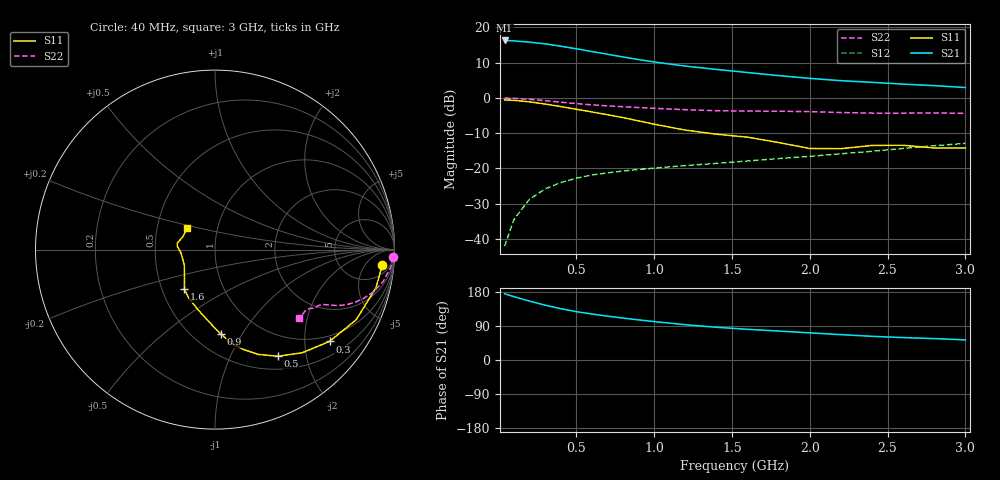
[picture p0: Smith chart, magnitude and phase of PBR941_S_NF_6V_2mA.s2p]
! Filename:  PBR941L.S2P  Version:  3.0
! Philips part #:  PBR941  Date: July 1998
! Bias condition:  Vce=6V, Ic=2.0mA
#  MHz  S  MA  R 50
! Freq  S11  S21  S12  S22
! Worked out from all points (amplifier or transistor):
!   21 points, 40 MHz to 3 GHz, reference 50 ohm
!   highest |S21| = 16.3 dB at 40 MHz (marker M1)
!   |S21| within 3 dB of that: start of sweep to 581.9 MHz
!   unconditionally stable (mu >= 1): 1.754 GHz to end of sweep
!   at 300 MHz: K = 0.26, MSG = 20.6 dB, |S12| = -25.8 dB
!   at 1 GHz: K = 0.74, MSG = 15.1 dB, |S12| = -20.0 dB
!   at 3 GHz: K = 1.02, MAG = 7.1 dB, |S12| = -12.9 dB
!   lowest NFmin = 1.04 dB at 500 MHz
!   S11 on the Smith chart (normalised r, x): 40 MHz: 10, -14; 300 MHz: 0.84, -2.61; 500 MHz: 0.68, -1.53; 900 MHz: 0.67, -0.81; 1.6 GHz: 0.65, -0.31; 3 GHz: 0.72, +0.18
40  0.9356 -5.4  6.528 174.7  0.007862 86.6  0.9945 -2.3
100  0.9217 -13.4  6.432 167.2  0.01883 81.5  0.985 -5.6
200  0.8784 -26.4  6.182 155.4  0.03655 75.2  0.9537 -10.8
300  0.8179 -38.7  5.846 144.7  0.0511 70.0  0.9122 -15.1
400  0.753 -49.7  5.412 135.5  0.0628 65.4  0.8687 -18.4
500  0.6899 -59.5  4.977 127.7  0.07236 62.4  0.8295 -20.9
600  0.6317 -67.5  4.546 121.4  0.08048 60.5  0.7962 -22.6
700  0.5767 -74.4  4.163 115.8  0.08615 59.5  0.7697 -23.8
800  0.5252 -80.5  3.809 110.7  0.09168 59.1  0.7486 -24.6
900  0.4719 -85.9  3.496 105.9  0.09621 58.9  0.729 -25.2
1000  0.4234 -91.9  3.235 101.5  0.1005 59.0  0.7111 -25.7
1200  0.349 -105.6  2.827 93.2  0.1095 60.1  0.6797 -26.8
1400  0.3054 -119.1  2.535 86.4  0.1175 61.5  0.6577 -28.2
1600  0.2769 -128.0  2.29 81.0  0.1272 64.1  0.6494 -29.3
1800  0.2326 -137.0  2.071 76.4  0.1375 66.9  0.6469 -30.1
2000  0.1913 -153.5  1.891 71.7  0.148 68.8  0.6378 -30.8
2200  0.1902 -174.1  1.754 66.9  0.1609 70.5  0.62 -32.0
2400  0.2114 174.6  1.662 62.5  0.1745 72.2  0.6074 -34.1
2600  0.2125 169.4  1.567 59.2  0.1917 74.1  0.6072 -36.7
2800  0.1946 160.2  1.492 56.5  0.2094 75.3  0.6113 -38.4
3000  0.1946 142.2  1.402 53.0  0.2262 75.8  0.6033 -39.4
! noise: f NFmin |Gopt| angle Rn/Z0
500  1.038  0.588  13.28  0.379
900  1.111  0.497  29.36  0.372
1000  1.168  0.448  32.72  1.369
2000  1.951  0.206  103.6  0.22
